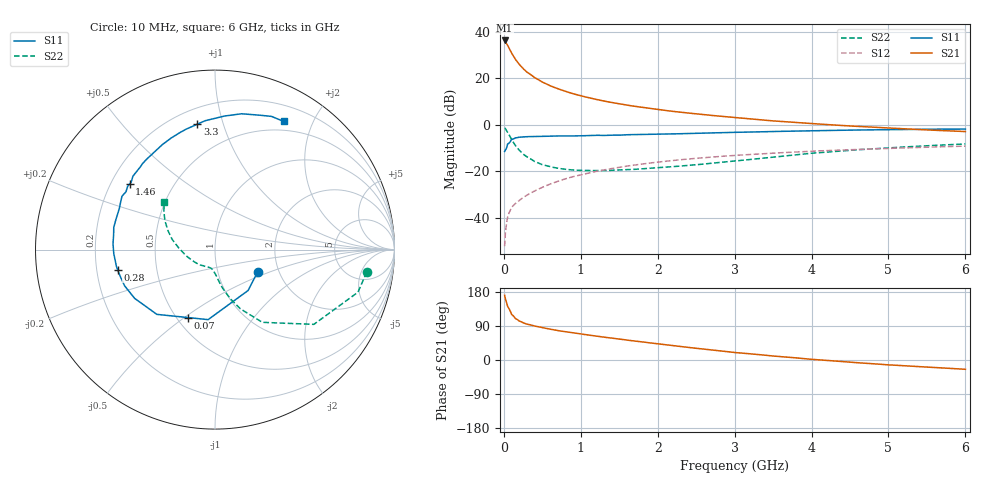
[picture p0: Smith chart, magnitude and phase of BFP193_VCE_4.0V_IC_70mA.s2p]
! Infineon Technologies  Discrete & RF Semiconductors
! BFP193
! VCE = 4.0 V,  IC =  70 mA
! Common Emitter S-Parameters:  Jan 2016
# GHz  S  MA  R  50
!  f  S11  S21  S12  S22
! GHz  MAG  ANG  MAG  ANG  MAG  ANG  MAG  ANG
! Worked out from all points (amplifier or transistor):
!   210 points, 10 MHz to 6 GHz, reference 50 ohm
!   highest |S21| = 36.2 dB at 10 MHz (marker M1)
!   |S21| within 3 dB of that: start of sweep to 63.85 MHz
!   unconditionally stable (mu >= 1): 431.9 MHz to 3.977 GHz
!   at 185 MHz: K = 0.76, MSG = 29.7 dB, |S12| = -32.8 dB
!   at 1.52 GHz: K = 1.08, MAG = 11.8 dB, |S12| = -18.1 dB
!   at 6 GHz: K = 0.95, MSG = 3.1 dB, |S12| = -9.1 dB
!   S11 on the Smith chart (normalised r, x): 10 MHz: 1.56, -0.42; 70 MHz: 0.57, -0.51; 280 MHz: 0.29, -0.09; 1.46 GHz: 0.28, +0.32; 3.3 GHz: 0.30, +0.82; 6 GHz: 0.39, +1.60
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0.01  0.2681 -27.5  64.39 170.9  0.0025 78.4  0.8546 -8.4
0.02  0.2931 -51.0  61.18 161.3  0.0047 76.1  0.8311 -16.6
0.05  0.392 -95.6  50.42 140.9  0.0106 63.4  0.6906 -37.1
0.07  0.408 -111.9  43.53 134.6  0.0131 60.3  0.5996 -43.4
0.1  0.4849 -131.9  34.67 120.7  0.0168 57.3  0.4829 -57.0
0.15  0.5236 -148.7  25.33 109.6  0.0205 56.9  0.3591 -66.8
0.2  0.5426 -158.2  19.79 102.9  0.0238 58.6  0.2858 -72.8
0.24  0.5483 -164.0  16.77 99.3  0.0268 59.5  0.2457 -76.1
0.28  0.554 -168.4  14.52 96.2  0.0296 60.9  0.2178 -78.9
0.3  0.5571 -170.3  13.52 94.7  0.0309 61.6  0.206 -80.2
0.4  0.5644 -177.7  10.28 89.6  0.0381 64.2  0.1637 -84.7
0.5  0.5691 176.8  8.251 85.3  0.0456 65.7  0.1398 -88.3
0.6  0.5701 172.3  6.9 81.4  0.0535 66.3  0.1264 -91.7
0.7  0.5773 167.7  5.945 77.7  0.0613 66.1  0.1171 -94.9
1.02  0.582 155.9  4.111 68.2  0.086 64.2  0.1051 -104.3
1.46  0.5998 142.4  2.904 56.4  0.1197 59.8  0.1072 -117.9
2.02  0.6315 127.1  2.108 42.4  0.1598 52.6  0.121 -137.0
3.1  0.694 101.8  1.385 18.2  0.2258 38.3  0.1737 -172.6
3.3  0.7056 98.0  1.297 14.6  0.2362 35.8  0.1874 -178.1
4.1  0.7499 84.5  1.039 0.4  0.276 26.1  0.2531 164.5
5.1  0.7898 71.4  0.839 -13.9  0.3159 14.8  0.3277 148.7
6  0.8103 61.8  0.717 -24.5  0.3497 5.1  0.3887 136.8
